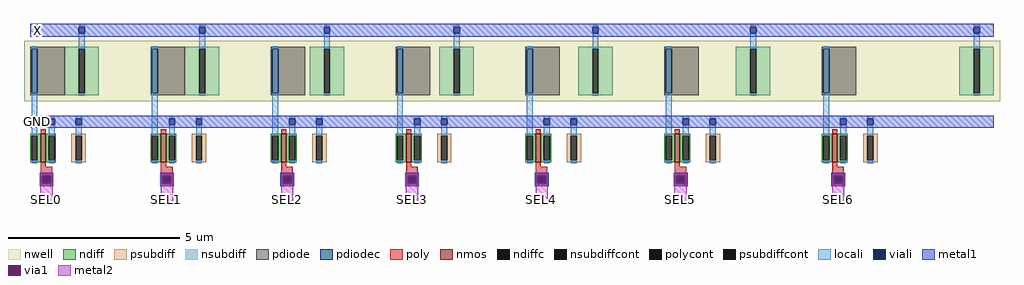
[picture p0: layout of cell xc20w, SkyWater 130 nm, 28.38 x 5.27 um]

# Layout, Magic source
magic
tech sky130A
magscale 1 2
<< nwell >>
rect -36 -36 5640 316
<< nmos >>
rect 60 -392 90 -224
rect 760 -392 790 -224
rect 1460 -392 1490 -224
rect 2186 -392 2216 -224
rect 2940 -392 2970 -224
rect 3748 -392 3778 -224
rect 4664 -392 4694 -224
<< ndiff >>
rect 0 -236 60 -224
rect 0 -380 8 -236
rect 42 -380 60 -236
rect 0 -392 60 -380
rect 90 -236 150 -224
rect 90 -380 108 -236
rect 142 -380 150 -236
rect 90 -392 150 -380
rect 700 -236 760 -224
rect 700 -380 708 -236
rect 742 -380 760 -236
rect 700 -392 760 -380
rect 790 -236 850 -224
rect 790 -380 808 -236
rect 842 -380 850 -236
rect 790 -392 850 -380
rect 1400 -236 1460 -224
rect 1400 -380 1408 -236
rect 1442 -380 1460 -236
rect 1400 -392 1460 -380
rect 1490 -236 1550 -224
rect 1490 -380 1508 -236
rect 1542 -380 1550 -236
rect 1490 -392 1550 -380
rect 2126 -236 2186 -224
rect 2126 -380 2134 -236
rect 2168 -380 2186 -236
rect 2126 -392 2186 -380
rect 2216 -236 2276 -224
rect 2216 -380 2234 -236
rect 2268 -380 2276 -236
rect 2216 -392 2276 -380
rect 2880 -236 2940 -224
rect 2880 -380 2888 -236
rect 2922 -380 2940 -236
rect 2880 -392 2940 -380
rect 2970 -236 3030 -224
rect 2970 -380 2988 -236
rect 3022 -380 3030 -236
rect 2970 -392 3030 -380
rect 3688 -236 3748 -224
rect 3688 -380 3696 -236
rect 3730 -380 3748 -236
rect 3688 -392 3748 -380
rect 3778 -236 3838 -224
rect 3778 -380 3796 -236
rect 3830 -380 3838 -236
rect 3778 -392 3838 -380
rect 4604 -236 4664 -224
rect 4604 -380 4612 -236
rect 4646 -380 4664 -236
rect 4604 -392 4664 -380
rect 4694 -236 4754 -224
rect 4694 -380 4712 -236
rect 4746 -380 4754 -236
rect 4694 -392 4754 -380
<< ndiffc >>
rect 8 -380 42 -236
rect 108 -380 142 -236
rect 708 -380 742 -236
rect 808 -380 842 -236
rect 1408 -380 1442 -236
rect 1508 -380 1542 -236
rect 2134 -380 2168 -236
rect 2234 -380 2268 -236
rect 2888 -380 2922 -236
rect 2988 -380 3022 -236
rect 3696 -380 3730 -236
rect 3796 -380 3830 -236
rect 4612 -380 4646 -236
rect 4712 -380 4746 -236
<< psubdiff >>
rect 240 -236 324 -224
rect 240 -380 265 -236
rect 299 -380 324 -236
rect 240 -392 324 -380
rect 940 -236 1024 -224
rect 940 -380 965 -236
rect 999 -380 1024 -236
rect 940 -392 1024 -380
rect 1640 -236 1724 -224
rect 1640 -380 1665 -236
rect 1699 -380 1724 -236
rect 1640 -392 1724 -380
rect 2366 -236 2450 -224
rect 2366 -380 2391 -236
rect 2425 -380 2450 -236
rect 2366 -392 2450 -380
rect 3120 -236 3204 -224
rect 3120 -380 3145 -236
rect 3179 -380 3204 -236
rect 3120 -392 3204 -380
rect 3928 -236 4012 -224
rect 3928 -380 3953 -236
rect 3987 -380 4012 -236
rect 3928 -392 4012 -380
rect 4844 -236 4928 -224
rect 4844 -380 4869 -236
rect 4903 -380 4928 -236
rect 4844 -392 4928 -380
<< nsubdiff >>
rect 200 268 400 280
rect 200 12 283 268
rect 317 12 400 268
rect 200 0 400 12
rect 900 268 1100 280
rect 900 12 983 268
rect 1017 12 1100 268
rect 900 0 1100 12
rect 1626 268 1826 280
rect 1626 12 1709 268
rect 1743 12 1826 268
rect 1626 0 1826 12
rect 2380 268 2580 280
rect 2380 12 2463 268
rect 2497 12 2580 268
rect 2380 0 2580 12
rect 3188 268 3388 280
rect 3188 12 3271 268
rect 3305 12 3388 268
rect 3188 0 3388 12
rect 4104 268 4304 280
rect 4104 12 4187 268
rect 4221 12 4304 268
rect 4104 0 4304 12
rect 5404 268 5604 280
rect 5404 12 5487 268
rect 5521 12 5604 268
rect 5404 0 5604 12
<< psubdiffcont >>
rect 265 -380 299 -236
rect 965 -380 999 -236
rect 1665 -380 1699 -236
rect 2391 -380 2425 -236
rect 3145 -380 3179 -236
rect 3953 -380 3987 -236
rect 4869 -380 4903 -236
<< nsubdiffcont >>
rect 283 12 317 268
rect 983 12 1017 268
rect 1709 12 1743 268
rect 2463 12 2497 268
rect 3271 12 3305 268
rect 4187 12 4221 268
rect 5487 12 5521 268
<< poly >>
rect 60 -224 90 -198
rect 760 -224 790 -198
rect 1460 -224 1490 -198
rect 2186 -224 2216 -198
rect 2940 -224 2970 -198
rect 3748 -224 3778 -198
rect 4664 -224 4694 -198
rect 60 -418 90 -392
rect 760 -418 790 -392
rect 1460 -418 1490 -392
rect 2186 -418 2216 -392
rect 2940 -418 2970 -392
rect 3748 -418 3778 -392
rect 4664 -418 4694 -392
rect 60 -474 128 -418
rect 60 -508 78 -474
rect 112 -508 128 -474
rect 60 -524 128 -508
rect 760 -474 828 -418
rect 760 -508 778 -474
rect 812 -508 828 -474
rect 760 -524 828 -508
rect 1460 -474 1528 -418
rect 1460 -508 1478 -474
rect 1512 -508 1528 -474
rect 1460 -524 1528 -508
rect 2186 -474 2254 -418
rect 2186 -508 2204 -474
rect 2238 -508 2254 -474
rect 2186 -524 2254 -508
rect 2940 -474 3008 -418
rect 2940 -508 2958 -474
rect 2992 -508 3008 -474
rect 2940 -524 3008 -508
rect 3748 -474 3816 -418
rect 3748 -508 3766 -474
rect 3800 -508 3816 -474
rect 3748 -524 3816 -508
rect 4664 -474 4732 -418
rect 4664 -508 4682 -474
rect 4716 -508 4732 -474
rect 4664 -524 4732 -508
<< polycont >>
rect 78 -508 112 -474
rect 778 -508 812 -474
rect 1478 -508 1512 -474
rect 2204 -508 2238 -474
rect 2958 -508 2992 -474
rect 3766 -508 3800 -474
rect 4682 -508 4716 -474
<< pdiode >>
rect 0 268 200 280
rect 0 12 8 268
rect 42 12 200 268
rect 0 0 200 12
rect 700 268 900 280
rect 700 12 708 268
rect 742 12 900 268
rect 700 0 900 12
rect 1400 268 1600 280
rect 1400 12 1408 268
rect 1442 12 1600 268
rect 1400 0 1600 12
rect 2126 268 2326 280
rect 2126 12 2134 268
rect 2168 12 2326 268
rect 2126 0 2326 12
rect 2880 268 3080 280
rect 2880 12 2888 268
rect 2922 12 3080 268
rect 2880 0 3080 12
rect 3688 268 3888 280
rect 3688 12 3696 268
rect 3730 12 3888 268
rect 3688 0 3888 12
rect 4604 268 4804 280
rect 4604 12 4612 268
rect 4646 12 4804 268
rect 4604 0 4804 12
<< pdiodec >>
rect 8 12 42 268
rect 708 12 742 268
rect 1408 12 1442 268
rect 2134 12 2168 268
rect 2888 12 2922 268
rect 3696 12 3730 268
rect 4612 12 4646 268
<< locali >>
rect 283 394 317 406
rect 8 268 42 284
rect 8 -236 42 12
rect 283 268 317 360
rect 983 394 1017 406
rect 283 -4 317 12
rect 708 268 742 284
rect 8 -396 42 -380
rect 108 -138 142 -120
rect 108 -236 142 -172
rect 108 -396 142 -380
rect 265 -138 299 -120
rect 265 -236 299 -172
rect 265 -396 299 -380
rect 708 -236 742 12
rect 983 268 1017 360
rect 1709 394 1743 406
rect 983 -4 1017 12
rect 1408 268 1442 284
rect 708 -396 742 -380
rect 808 -138 842 -120
rect 808 -236 842 -172
rect 808 -396 842 -380
rect 965 -138 999 -120
rect 965 -236 999 -172
rect 965 -396 999 -380
rect 1408 -236 1442 12
rect 1709 268 1743 360
rect 2463 394 2497 406
rect 1709 -4 1743 12
rect 2134 268 2168 284
rect 1408 -396 1442 -380
rect 1508 -138 1542 -120
rect 1508 -236 1542 -172
rect 1508 -396 1542 -380
rect 1665 -138 1699 -120
rect 1665 -236 1699 -172
rect 1665 -396 1699 -380
rect 2134 -236 2168 12
rect 2463 268 2497 360
rect 3271 394 3305 406
rect 2463 -4 2497 12
rect 2888 268 2922 284
rect 2134 -396 2168 -380
rect 2234 -138 2268 -120
rect 2234 -236 2268 -172
rect 2234 -396 2268 -380
rect 2391 -138 2425 -120
rect 2391 -236 2425 -172
rect 2391 -396 2425 -380
rect 2888 -236 2922 12
rect 3271 268 3305 360
rect 4187 394 4221 406
rect 3271 -4 3305 12
rect 3696 268 3730 284
rect 2888 -396 2922 -380
rect 2988 -138 3022 -120
rect 2988 -236 3022 -172
rect 2988 -396 3022 -380
rect 3145 -138 3179 -120
rect 3145 -236 3179 -172
rect 3145 -396 3179 -380
rect 3696 -236 3730 12
rect 4187 268 4221 360
rect 5487 394 5521 406
rect 4187 -4 4221 12
rect 4612 268 4646 284
rect 3696 -396 3730 -380
rect 3796 -138 3830 -120
rect 3796 -236 3830 -172
rect 3796 -396 3830 -380
rect 3953 -138 3987 -120
rect 3953 -236 3987 -172
rect 3953 -396 3987 -380
rect 4612 -236 4646 12
rect 5487 268 5521 360
rect 5487 -4 5521 12
rect 4612 -396 4646 -380
rect 4712 -138 4746 -120
rect 4712 -236 4746 -172
rect 4712 -396 4746 -380
rect 4869 -138 4903 -120
rect 4869 -236 4903 -172
rect 4869 -396 4903 -380
rect 78 -474 112 -458
rect 78 -524 112 -508
rect 778 -474 812 -458
rect 778 -524 812 -508
rect 1478 -474 1512 -458
rect 1478 -524 1512 -508
rect 2204 -474 2238 -458
rect 2204 -524 2238 -508
rect 2958 -474 2992 -458
rect 2958 -524 2992 -508
rect 3766 -474 3800 -458
rect 3766 -524 3800 -508
rect 4682 -474 4716 -458
rect 4682 -524 4716 -508
<< viali >>
rect 283 360 317 394
rect 983 360 1017 394
rect 108 -172 142 -138
rect 265 -172 299 -138
rect 1709 360 1743 394
rect 808 -172 842 -138
rect 965 -172 999 -138
rect 2463 360 2497 394
rect 1508 -172 1542 -138
rect 1665 -172 1699 -138
rect 3271 360 3305 394
rect 2234 -172 2268 -138
rect 2391 -172 2425 -138
rect 4187 360 4221 394
rect 2988 -172 3022 -138
rect 3145 -172 3179 -138
rect 5487 360 5521 394
rect 3796 -172 3830 -138
rect 3953 -172 3987 -138
rect 4712 -172 4746 -138
rect 4869 -172 4903 -138
rect 78 -508 112 -474
rect 778 -508 812 -474
rect 1478 -508 1512 -474
rect 2204 -508 2238 -474
rect 2958 -508 2992 -474
rect 3766 -508 3800 -474
rect 4682 -508 4716 -474
<< metal1 >>
rect 0 394 5604 414
rect 0 360 283 394
rect 317 360 983 394
rect 1017 360 1709 394
rect 1743 360 2463 394
rect 2497 360 3271 394
rect 3305 360 4187 394
rect 4221 360 5487 394
rect 5521 360 5604 394
rect 0 340 5604 360
rect 0 -138 5604 -120
rect 0 -172 108 -138
rect 142 -172 265 -138
rect 299 -172 808 -138
rect 842 -172 965 -138
rect 999 -172 1508 -138
rect 1542 -172 1665 -138
rect 1699 -172 2234 -138
rect 2268 -172 2391 -138
rect 2425 -172 2988 -138
rect 3022 -172 3145 -138
rect 3179 -172 3796 -138
rect 3830 -172 3953 -138
rect 3987 -172 4712 -138
rect 4746 -172 4869 -138
rect 4903 -172 5604 -138
rect 0 -190 5604 -172
rect 55 -465 135 -451
rect 55 -517 69 -465
rect 121 -517 135 -465
rect 55 -531 135 -517
rect 755 -465 835 -451
rect 755 -517 769 -465
rect 821 -517 835 -465
rect 755 -531 835 -517
rect 1455 -465 1535 -451
rect 1455 -517 1469 -465
rect 1521 -517 1535 -465
rect 1455 -531 1535 -517
rect 2181 -465 2261 -451
rect 2181 -517 2195 -465
rect 2247 -517 2261 -465
rect 2181 -531 2261 -517
rect 2935 -465 3015 -451
rect 2935 -517 2949 -465
rect 3001 -517 3015 -465
rect 2935 -531 3015 -517
rect 3743 -465 3823 -451
rect 3743 -517 3757 -465
rect 3809 -517 3823 -465
rect 3743 -531 3823 -517
rect 4659 -465 4739 -451
rect 4659 -517 4673 -465
rect 4725 -517 4739 -465
rect 4659 -531 4739 -517
<< via1 >>
rect 69 -474 121 -465
rect 69 -508 78 -474
rect 78 -508 112 -474
rect 112 -508 121 -474
rect 69 -517 121 -508
rect 769 -474 821 -465
rect 769 -508 778 -474
rect 778 -508 812 -474
rect 812 -508 821 -474
rect 769 -517 821 -508
rect 1469 -474 1521 -465
rect 1469 -508 1478 -474
rect 1478 -508 1512 -474
rect 1512 -508 1521 -474
rect 1469 -517 1521 -508
rect 2195 -474 2247 -465
rect 2195 -508 2204 -474
rect 2204 -508 2238 -474
rect 2238 -508 2247 -474
rect 2195 -517 2247 -508
rect 2949 -474 3001 -465
rect 2949 -508 2958 -474
rect 2958 -508 2992 -474
rect 2992 -508 3001 -474
rect 2949 -517 3001 -508
rect 3757 -474 3809 -465
rect 3757 -508 3766 -474
rect 3766 -508 3800 -474
rect 3800 -508 3809 -474
rect 3757 -517 3809 -508
rect 4673 -474 4725 -465
rect 4673 -508 4682 -474
rect 4682 -508 4716 -474
rect 4716 -508 4725 -474
rect 4673 -517 4725 -508
<< metal2 >>
rect 59 -465 131 -455
rect 59 -517 69 -465
rect 121 -517 131 -465
rect 59 -640 131 -517
rect 759 -465 831 -455
rect 759 -517 769 -465
rect 821 -517 831 -465
rect 759 -640 831 -517
rect 1459 -465 1531 -455
rect 1459 -517 1469 -465
rect 1521 -517 1531 -465
rect 1459 -640 1531 -517
rect 2185 -465 2257 -455
rect 2185 -517 2195 -465
rect 2247 -517 2257 -465
rect 2185 -640 2257 -517
rect 2939 -465 3011 -455
rect 2939 -517 2949 -465
rect 3001 -517 3011 -465
rect 2939 -640 3011 -517
rect 3747 -465 3819 -455
rect 3747 -517 3757 -465
rect 3809 -517 3819 -465
rect 3747 -640 3819 -517
rect 4663 -465 4735 -455
rect 4663 -517 4673 -465
rect 4725 -517 4735 -465
rect 4663 -640 4735 -517
<< labels >>
flabel metal2 59 -640 131 -580 0 FreeSans 320 0 0 0 SEL0
port 1 nsew
flabel metal2 759 -640 831 -580 0 FreeSans 320 0 0 0 SEL1
port 2 nsew
flabel metal2 1459 -640 1531 -580 0 FreeSans 320 0 0 0 SEL2
port 3 nsew
flabel metal2 2185 -640 2257 -580 0 FreeSans 320 0 0 0 SEL3
port 4 nsew
flabel metal2 2939 -640 3011 -580 0 FreeSans 320 0 0 0 SEL4
port 5 nsew
flabel metal2 3747 -640 3819 -580 0 FreeSans 320 0 0 0 SEL5
port 6 nsew
flabel metal2 4663 -640 4735 -580 0 FreeSans 320 0 0 0 SEL6
port 7 nsew
flabel metal1 0 340 80 414 0 FreeSans 320 0 0 0 X
port 8 nsew
flabel metal1 0 -190 80 -120 0 FreeSans 320 0 0 0 GND
port 9 nsew
<< end >>
